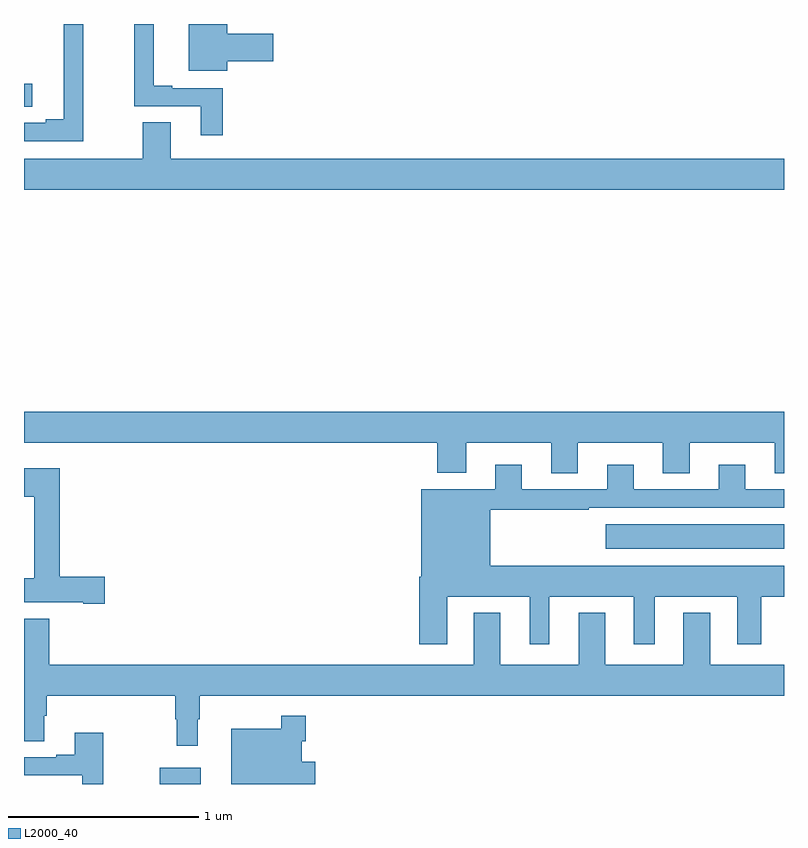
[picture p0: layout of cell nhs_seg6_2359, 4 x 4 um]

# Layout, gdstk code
import gdstk
lib = gdstk.Library(unit=1e-6, precision=1e-09)
def R(c, l, rs):  # rectangles x0, y0, x1, y1
    for r in rs: c.add(gdstk.rectangle(r[:2], r[2:], *l))
def P(c, l, *ps):  # polygons
    for p in ps: c.add(gdstk.Polygon(p, *l))
L2000_40 = (2000, 40)

nhs_seg6_2359 = lib.new_cell('nhs_seg6_2359')
R(nhs_seg6_2359, L2000_40, [(251.714,985.5,251.929,985.585), (254.061,986.738,255,986.866), (251,989.065,251.044,989.185)])
P(nhs_seg6_2359, L2000_40, [(251.312,989.5),(251.209,989.5),(251.209,989.283),(251.21,989.283),(251.21,989),(251.114,989),(251.114,988.98),(251,988.98),(251,988.884),(251.312,988.884)],
  [(252.047,989.163),(251.779,989.163),(251.779,989.176),(251.684,989.176),(251.684,989.5),(251.581,989.5),(251.581,989.067),(251.93,989.067),(251.93,988.914),(252.047,988.914)],
  [(252.07,989.303),(252.313,989.303),(252.313,989.45),(252.07,989.45),(252.07,989.5),(251.867,989.5),(251.867,989.255),(252.07,989.255)],
  [(255,988.792),(251.773,988.792),(251.773,988.982),(251.626,988.982),(251.626,988.792),(251,988.792),(251,988.628),(255,988.628)],
  [(253.915,987.296),(254.363,987.296),(254.363,987.136),(254.503,987.136),(254.503,987.296),(254.951,987.296),(254.951,987.136),(255,987.136),(255,987.46),(251,987.46),(251,987.296),(253.175,987.296),(253.175,987.137),(253.327,987.137),(253.327,987.296),(253.775,987.296),(253.775,987.136),(253.915,987.136)],
  [(253.228,986.486),(253.661,986.486),(253.661,986.235),(253.765,986.235),(253.765,986.486),(254.21,986.486),(254.21,986.235),(254.32,986.235),(254.32,986.486),(254.753,986.486),(254.753,986.235),(254.881,986.235),(254.881,986.486),(255,986.486),(255,986.65),(253.453,986.65),(253.453,986.943),(253.973,986.943),(253.973,986.955),(255,986.955),(255,987.051),(254.797,987.051),(254.797,987.181),(254.657,987.181),(254.657,987.051),(254.209,987.051),(254.209,987.181),(254.069,987.181),(254.069,987.051),(253.621,987.051),(253.621,987.181),(253.481,987.181),(253.481,987.052),(253.091,987.052),(253.091,986.59),(253.079,986.59),(253.079,986.235),(253.228,986.235)],
  [(251.425,986.591),(251.189,986.591),(251.189,987.163),(251,987.163),(251,987.011),(251.054,987.011),(251.054,986.584),(251,986.584),(251,986.456),(251.312,986.456),(251.312,986.449),(251.425,986.449)],
  [(251.914,985.841),(251.926,985.841),(251.926,985.964),(255,985.964),(255,986.128),(254.611,986.128),(254.611,986.401),(254.471,986.401),(254.471,986.128),(254.059,986.128),(254.059,986.401),(253.919,986.401),(253.919,986.128),(253.507,986.128),(253.507,986.401),(253.367,986.401),(253.367,986.128),(251.132,986.128),(251.132,986.371),(251,986.371),(251,985.726),(251.107,985.726),(251.107,985.858),(251.12,985.858),(251.12,985.964),(251.797,985.964),(251.797,985.841),(251.805,985.841),(251.805,985.701),(251.914,985.701)],
  [(252.532,985.617),(252.463,985.617),(252.463,985.725),(252.482,985.725),(252.482,985.858),(252.354,985.858),(252.354,985.792),(252.092,985.792),(252.092,985.5),(252.532,985.5)],
  [(251.416,985.771),(251.267,985.771),(251.267,985.654),(251.171,985.654),(251.171,985.641),(251,985.641),(251,985.545),(251.307,985.545),(251.307,985.5),(251.416,985.5)])

lib.write_gds('nhs_seg6_2359.gds')
